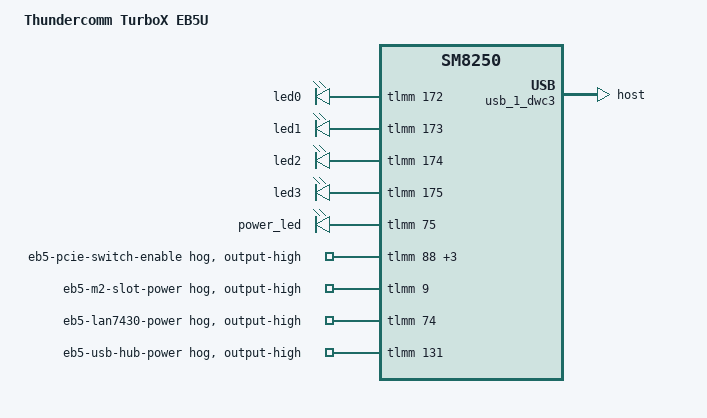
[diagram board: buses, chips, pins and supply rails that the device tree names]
#include "qrb5165-rb5.dts"

/ {
	model = "Thundercomm TurboX EB5U";
	compatible = "thundercomm,eb5u", "qcom,qrb5165-rb5", "qcom,sm8250";
};

/*
 * M.2 供电
 */
&i2c4 {
	status = "disabled";
};

&tlmm {
	/*
	 * ASM2806 交换机使能
	 */
	eb5_pcie_switch_hog {
		gpio-hog;
		gpios = <88  GPIO_ACTIVE_HIGH>,
			<89  GPIO_ACTIVE_HIGH>,
			<126 GPIO_ACTIVE_HIGH>,
			<130 GPIO_ACTIVE_HIGH>;
		output-high;
		line-name = "eb5-pcie-switch-enable";
	};

	/*
	 * ASM2806 下游供电
	 */
	eb5_m2_slot_power_hog {
		gpio-hog;
		gpios = <9 GPIO_ACTIVE_HIGH>;
		output-high;
		line-name = "eb5-m2-slot-power";
	};

	eb5_lan7430_power_hog {
		gpio-hog;
		gpios = <74 GPIO_ACTIVE_HIGH>;
		output-high;
		line-name = "eb5-lan7430-power";
	};

	/* USB Hub 供电 */
	eb5_usb_hub_power_hog {
		gpio-hog;
		gpios = <131 GPIO_ACTIVE_HIGH>;
		output-high;
		line-name = "eb5-usb-hub-power";
	};
};

/*
 * ASM2806 MMU
 */
&pcie2 {
	iommu-map = <0x000 &apps_smmu 0x1d00 0x1>,
		    <0x100 &apps_smmu 0x1d01 0x1>,
		    <0x200 &apps_smmu 0x1d02 0x1>,
		    <0x230 &apps_smmu 0x1d03 0x1>,
		    <0x270 &apps_smmu 0x1d04 0x1>,
		    <0x300 &apps_smmu 0x1d05 0x1>,
		    <0x400 &apps_smmu 0x1d06 0x1>,
		    <0x500 &apps_smmu 0x1d07 0x1>,
		    <0x600 &apps_smmu 0x1d08 0x1>;
};


/* LED */
/ {
	/delete-node/ leds;
};

&pm8150l_lpg {
	status = "disabled";
};

/ {
	eb5_leds: leds-eb5 {
		compatible = "gpio-leds";

		led-0 {
			label = "led0";
			gpios = <&tlmm 172 GPIO_ACTIVE_HIGH>;
			default-state = "off";
		};

		led-1 {
			label = "led1";
			gpios = <&tlmm 173 GPIO_ACTIVE_HIGH>;
			default-state = "off";
		};

		led-2 {
			label = "led2";
			gpios = <&tlmm 174 GPIO_ACTIVE_HIGH>;
			default-state = "off";
		};

		led-3 {
			label = "led3";
			gpios = <&tlmm 175 GPIO_ACTIVE_HIGH>;
			default-state = "off";
		};

		led-power {
			label = "power_led";
			gpios = <&tlmm 75 GPIO_ACTIVE_HIGH>;
			default-state = "on";
		};
	};
};

/*
 * TUSB8044A 改为 host 模式
 */
&usb_1_dwc3 {
	dr_mode = "host";
	/delete-property/ usb-role-switch;
};

/*
 * 禁用 LT9611UXC
 */
&mdss_dsi0_out {
	/delete-property/ remote-endpoint;
};

&sound {
	/delete-node/ hdmi-dai-link;
};

&i2c5 {
	status = "disabled";
	/delete-node/ hdmi-bridge@2b;
};

&mdss_dsi0 {
	status = "disabled";
};

&mdss_dsi0_phy {
	status = "disabled";
};

/ {
	/delete-node/ hdmi-out;

	/delete-node/ lt9611-vdd12-regulator;
	/delete-node/ lt9611-3v3;
};

/*
 * 禁用冲突音频节点
 */
&sound {
	/delete-node/ dma-dai-link;
};

&swr0 {
	status = "disabled";
	/delete-node/ speaker@0,3;
	/delete-node/ speaker@0,4;
};
